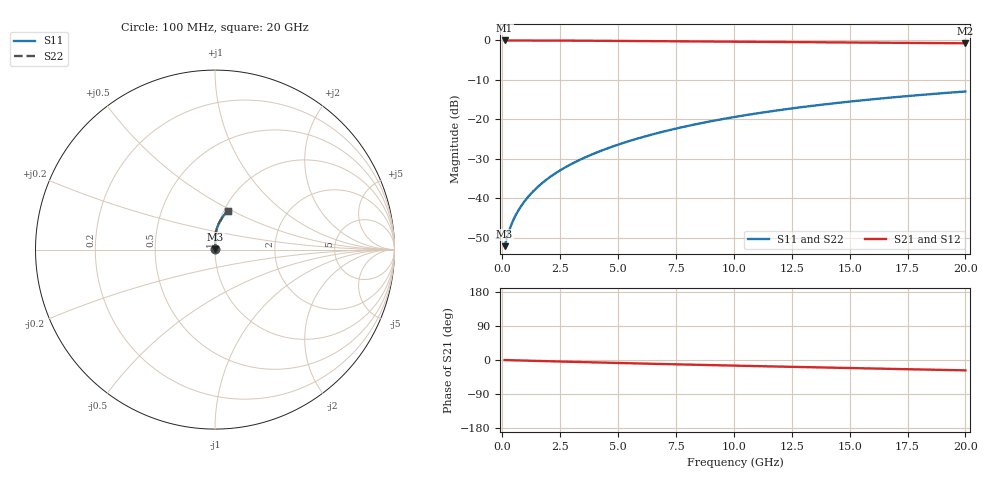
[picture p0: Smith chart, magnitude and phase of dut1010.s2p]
! Touchstone file exported from HFSS 2024.1.0
!  File:  C:/UserFiles/LocalFiles/RDL_TSV_Batchsim/temp_RDL_top_1010_1780042715.aedt
!  Generated:  04:21:18 PM May 29, 2026
!  Design:  RDL_top
!  Project:  temp_RDL_top_1010_1780042715
!  Setup:  Setup1
!  Solution:  Sweep
! Variables:
!  dtsv = 10.80580581um
!  hbump = 3um
!  htsv = 85.77um
!  ldown = 100um
!  lrdl = 404.53um
!  p = 40
!  p1 = 43.65um
!  rhole = 1um
!  t = 450um
!  tdown = 3.915915916um
!  trdl = 2.9um
!  wdown = 15.38538539um
!  wrdl = 25.51um
# GHz S MA R 50.000000
! Terminal data exported
! Port[1] = Box2_T1
! Port[2] = Box2_T2
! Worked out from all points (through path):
!   200 points, 100 MHz to 20 GHz, reference 50 ohm
!   highest |S21| = -0.02 dB at 100 MHz (marker M1); lowest = -0.7 dB at 20 GHz (marker M2)
!   group delay of S21, straight-line fit = 3.75 ps
!   lowest |S11| = -52.1 dB at 100 MHz (marker M3), VSWR 1.00, Z = 50.2 + j0.107 ohm
!   |S11| at or under -10 dB: start of sweep to end of sweep
!   |S22| runs from -52.1 to -12.9 dB; largest |S21 - S12| = 5.4e-15
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0.1  0.00247 25.7  0.9978 -0.2  0.9978 -0.2  0.00247 25.7
! Gamma 0 0 0 0
! Port Impedance 50 0 50 0
0.3  0.003906 50.9  0.9975 -0.5  0.9975 -0.5  0.003906 50.9
0.4  0.004696 56.8  0.9973 -0.7  0.9973 -0.7  0.004696 56.8
0.5  0.005481 61.0  0.9971 -0.8  0.9971 -0.8  0.005481 61.0
0.6  0.006265 64.3  0.997 -1.0  0.997 -1.0  0.006265 64.3
0.8  0.007847 69.4  0.9967 -1.3  0.9967 -1.3  0.007846 69.4
1  0.009462 73.1  0.9965 -1.6  0.9965 -1.6  0.009462 73.1
1.2  0.01111 75.9  0.9962 -2.0  0.9962 -2.0  0.01111 75.9
1.7  0.01538 80.6  0.9953 -2.8  0.9953 -2.8  0.01538 80.6
2.2  0.01983 83.6  0.9942 -3.6  0.9942 -3.6  0.01983 83.6
2.8  0.02539 85.9  0.9927 -4.5  0.9927 -4.5  0.02539 85.9
3.5  0.03217 87.7  0.9905 -5.6  0.9905 -5.6  0.03217 87.7
4.2  0.03927 88.7  0.988 -6.7  0.988 -6.7  0.03927 88.7
5  0.04775 89.3  0.9848 -7.9  0.9848 -7.9  0.04775 89.3
5.9  0.05772 89.5  0.9809 -9.2  0.9809 -9.2  0.05772 89.5
6.8  0.06806 89.2  0.9769 -10.5  0.9769 -10.5  0.06806 89.2
8.4  0.0871 87.9  0.9695 -12.7  0.9695 -12.7  0.0871 87.9
10.1  0.1079 86.0  0.9617 -15.0  0.9617 -15.0  0.1079 86.0
11.7  0.1275 83.9  0.9544 -17.1  0.9544 -17.1  0.1275 83.9
13.4  0.1483 81.4  0.9469 -19.2  0.9469 -19.2  0.1483 81.5
16.7  0.1877 76.6  0.9328 -23.3  0.9328 -23.3  0.1877 76.6
20  0.2252 71.9  0.9189 -27.3  0.9189 -27.3  0.2252 71.9
